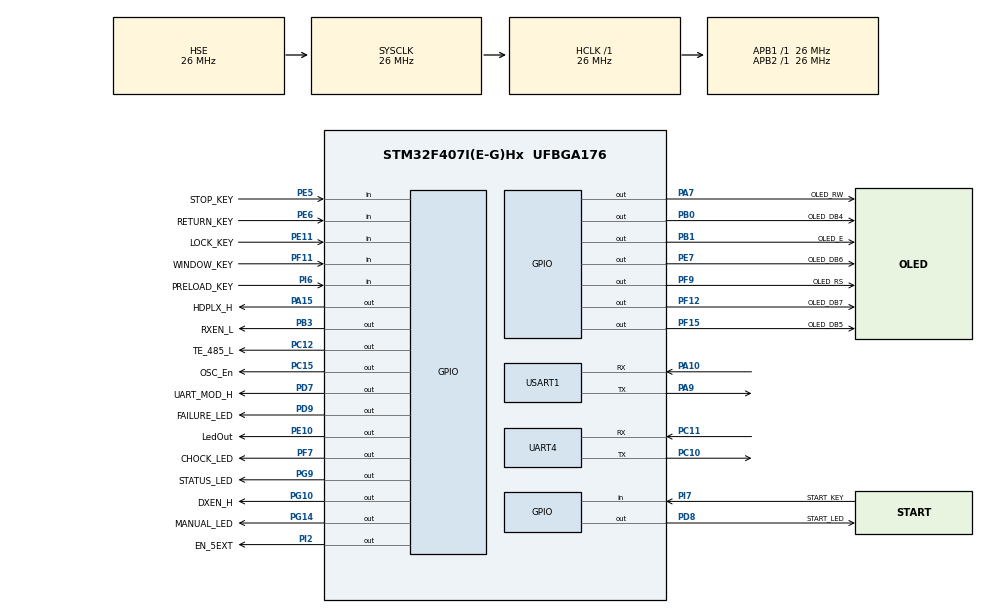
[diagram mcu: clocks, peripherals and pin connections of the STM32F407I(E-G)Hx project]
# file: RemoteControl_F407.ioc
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Mcu.Family=STM32F4
Mcu.Name=STM32F407I(E-G)Hx
Mcu.Package=UFBGA176
NVIC.PriorityGroup=NVIC_PRIORITYGROUP_4
NVIC.TIM3_IRQn=true\:2\:0\:true\:true\:true\:1\:true\:true\:true
NVIC.UART4_IRQn=true\:0\:0\:false\:false\:true\:true\:true\:true
NVIC.USART1_IRQn=true\:3\:0\:true\:false\:true\:true\:true\:true
PA10.Mode=Asynchronous
PA10.Signal=USART1_RX
PA15.GPIO_Label=HDPLX_H
PA15.GPIO_PuPd=GPIO_PULLUP
PA15.PinState=GPIO_PIN_SET
PA15.Signal=GPIO_Output
PA7.GPIO_Label=OLED_RW
PA7.GPIO_PuPd=GPIO_PULLUP
PA7.GPIO_Speed=GPIO_SPEED_FREQ_HIGH
PA7.Signal=GPIO_Output
PA9.Mode=Asynchronous
PA9.Signal=USART1_TX
PB0.GPIO_Label=OLED_DB4
PB0.GPIO_PuPd=GPIO_PULLUP
PB0.GPIO_Speed=GPIO_SPEED_FREQ_HIGH
PB0.Signal=GPIO_Output
PB1.GPIO_Label=OLED_E
PB1.GPIO_PuPd=GPIO_PULLUP
PB1.GPIO_Speed=GPIO_SPEED_FREQ_HIGH
PB1.Signal=GPIO_Output
PB3.GPIO_Label=RXEN_L
PB3.GPIO_PuPd=GPIO_PULLDOWN
PB3.Signal=GPIO_Output
PC10.Mode=Asynchronous
PC10.Signal=UART4_TX
PC11.Mode=Asynchronous
PC11.Signal=UART4_RX
PC12.GPIO_Label=TE_485_L
PC12.GPIO_PuPd=GPIO_PULLDOWN
PC12.Signal=GPIO_Output
PC15-OSC32_OUT.GPIO_Label=OSC_En
PC15-OSC32_OUT.GPIO_ModeDefaultOutputPP=GPIO_MODE_OUTPUT_PP
PC15-OSC32_OUT.GPIO_PuPd=GPIO_PULLUP
PC15-OSC32_OUT.PinState=GPIO_PIN_SET
PC15-OSC32_OUT.Signal=GPIO_Output
PD7.GPIO_Label=UART_MOD_H
PD7.GPIO_ModeDefaultOutputPP=GPIO_MODE_OUTPUT_PP
PD7.GPIO_PuPd=GPIO_PULLUP
PD7.PinState=GPIO_PIN_SET
PD7.Signal=GPIO_Output
PD8.GPIO_Label=START_LED
PD8.GPIO_PuPd=GPIO_PULLUP
PD8.Signal=GPIO_Output
PD9.GPIO_Label=FAILURE_LED
PD9.GPIO_PuPd=GPIO_PULLUP
PD9.Signal=GPIO_Output
PE10.GPIO_Label=LedOut
PE10.GPIO_PuPd=GPIO_PULLUP
PE10.Signal=GPIO_Output
PE11.GPIO_Label=LOCK_KEY
PE11.GPIO_PuPd=GPIO_PULLUP
PE11.Signal=GPIO_Input
PE5.GPIO_Label=STOP_KEY
PE5.GPIO_PuPd=GPIO_PULLUP
PE5.Signal=GPIO_Input
PE6.GPIO_Label=RETURN_KEY
PE6.GPIO_PuPd=GPIO_PULLUP
PE6.Signal=GPIO_Input
PE7.GPIO_Label=OLED_DB6
PE7.GPIO_PuPd=GPIO_PULLUP
PE7.GPIO_Speed=GPIO_SPEED_FREQ_HIGH
PE7.Signal=GPIO_Output
PF11.GPIO_Label=WINDOW_KEY
PF11.GPIO_PuPd=GPIO_PULLUP
PF11.Signal=GPIO_Input
PF12.GPIO_Label=OLED_DB7
PF12.GPIO_PuPd=GPIO_PULLUP
PF12.GPIO_Speed=GPIO_SPEED_FREQ_HIGH
PF12.Signal=GPIO_Output
PF15.GPIO_Label=OLED_DB5
PF15.GPIO_PuPd=GPIO_PULLUP
PF15.GPIO_Speed=GPIO_SPEED_FREQ_HIGH
PF15.Signal=GPIO_Output
PF7.GPIO_Label=CHOCK_LED
PF7.GPIO_PuPd=GPIO_PULLUP
PF7.Signal=GPIO_Output
PF9.GPIO_Label=OLED_RS
PF9.GPIO_PuPd=GPIO_PULLUP
PF9.GPIO_Speed=GPIO_SPEED_FREQ_HIGH
PF9.Signal=GPIO_Output
PG10.GPIO_Label=DXEN_H
PG10.GPIO_PuPd=GPIO_PULLUP
PG10.PinState=GPIO_PIN_SET
PG10.Signal=GPIO_Output
PG14.GPIO_Label=MANUAL_LED
PG14.GPIO_PuPd=GPIO_PULLUP
PG14.Signal=GPIO_Output
PG9.GPIO_Label=STATUS_LED
PG9.GPIO_PuPd=GPIO_PULLUP
PG9.PinState=GPIO_PIN_RESET
PG9.Signal=GPIO_Output
PH0-OSC_IN.Mode=HSE-External-Clock-Source
PH0-OSC_IN.Signal=RCC_OSC_IN
PH1-OSC_OUT.Mode=HSE-External-Clock-Source
PH1-OSC_OUT.Signal=RCC_OSC_OUT
PI2.GPIO_Label=EN_5EXT
PI2.GPIO_ModeDefaultOutputPP=GPIO_MODE_OUTPUT_PP
PI2.GPIO_PuPd=GPIO_PULLUP
PI2.PinState=GPIO_PIN_SET
PI2.Signal=GPIO_Output
PI6.GPIO_Label=PRELOAD_KEY
PI6.GPIO_PuPd=GPIO_PULLUP
PI6.Signal=GPIO_Input
PI7.GPIO_Label=START_KEY
PI7.GPIO_PuPd=GPIO_PULLUP
PI7.Signal=GPIO_Input
ProjectManager.HeapSize=0x200
ProjectManager.StackSize=0x400
ProjectManager.TargetToolchain=STM32CubeIDE
RCC.48MHZClocksFreq_Value=78000000
RCC.AHBFreq_Value=26000000
RCC.APB1Freq_Value=26000000
RCC.APB1TimFreq_Value=26000000
RCC.APB2Freq_Value=26000000
RCC.APB2TimFreq_Value=26000000
RCC.CortexFreq_Value=26000000
RCC.HCLKFreq_Value=26000000
RCC.HSE_VALUE=26000000
RCC.HSI_VALUE=16000000
RCC.LSE_VALUE=32768
RCC.PLLSourceVirtual=RCC_PLLSOURCE_HSE
RCC.SYSCLKFreq_VALUE=26000000
RCC.SYSCLKSource=RCC_SYSCLKSOURCE_HSE
RCC.VCOOutputFreq_Value=312000000
TIM3.AutoReloadPreload=TIM_AUTORELOAD_PRELOAD_DISABLE
TIM3.Period=50
TIM3.Prescaler=25
UART4.VirtualMode=Asynchronous
USART1.VirtualMode=VM_ASYNC
VP_TIM3_VS_ClockSourceINT.Mode=Internal
board=custom

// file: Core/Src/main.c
/* USER CODE BEGIN Header */
/**
  ******************************************************************************
  * @file           : main.c
  * @brief          : Main program body
  ******************************************************************************
  * @attention
  *
  * Copyright (c) 2023 STMicroelectronics.
  * All rights reserved.
  *
  * This software is licensed under terms that can be found in the LICENSE file
  * in the root directory of this software component.
  * If no LICENSE file comes with this software, it is provided AS-IS.
  *
  ******************************************************************************
  */
/* USER CODE END Header */
#include "main.h"

/* USER CODE BEGIN Includes */
#include <stdio.h>
#include <stdbool.h>
#include "OLED_1602.h"
#include "Key.h"
/* USER CODE END Includes */

/* USER CODE BEGIN PD */
#define POLLING_TIME    10 //keys checked every 10ms
/* USER CODE END PD */

TIM_HandleTypeDef htim3;

UART_HandleTypeDef huart4;
UART_HandleTypeDef huart1;

/* USER CODE BEGIN PV */
//Keys declaration
key_t preload_key, start_key, return_key, stop_key, lock_key, window_key;

bool f_polling; //true if polling counter is equal to polling period
uint32_t polling_cnt; //polling counter
uint32_t polling_period; //10ms if SysTick configured for 1ms tick interrupt

char oled_str[LCD_STR_LEN * 2];
bool f_update_str1, f_update_str2;
uint8_t menu_index;
uint8_t max_menu_index;

uint32_t half_sec_cnt; //counter for a half second
bool f_half_sec; //if half a second passed flag should be set

bool f_link_status; //Link status flag. True if link with a master. Reset to false if no link more than 200ms
uint32_t link_cnt; //counter to count 200ms interval. If 200ms passed link it means that we have no connection
                   //with a host and STATUS LED should be turned off
/* USER CODE END PV */

void SystemClock_Config(void);
static void MX_GPIO_Init(void);
static void MX_TIM3_Init(void);
static void MX_USART1_UART_Init(void);
static void MX_UART4_Init(void);
static void MX_NVIC_Init(void);
/* USER CODE BEGIN PFP */

//Keys handlers and initialize methods
static void Keys_Init(void);
static void Keys_Polling(void);

static void Preload_Key_Handler(key_state_e);
static void Start_Key_Handler(key_state_e);
static void Return_Key_Handler(key_state_e);
static void Stop_Key_Handler(key_state_e);
static void Lock_Key_Handler(key_state_e);
static void Window_Key_Handler(key_state_e);

static void OLED_Str1_Handler(char*, uint8_t);
static void OLED_Str2_Handler(char*);

extern void HAL_TIM_PeriodElapsedCallback_Modbus(TIM_HandleTypeDef*);
extern void HAL_UART_RxCpltCallback_modbus(UART_HandleTypeDef*);
extern void HAL_UART_TxCpltCallback_modbus(UART_HandleTypeDef *huart);

static void StatusRegister_Handler();
static void ControlRegister_Handler();
/* USER CODE END PFP */

/* USER CODE BEGIN 0 */

//ModbusRTU variables
//
//Modbus holding registers and registers array
uint16_t pressure_M1, pressure_M2, pressure_M3, pressure_M4, accum_voltage, tempr_compr_RT1, error_code, status_register, control_register;

uint16_t *modbus_holding_regs[] = {&pressure_M1, //M1, main receiver 0.0 - 25.0Bar
                                   &pressure_M2, //M2, control receiver 0.0 - 25.0Bar
                                   &pressure_M3, //M3, pressure in the rod cavity area of the working cylinder xx.xBar
                                   &pressure_M4, //M4, working cylinder pressure 0.0-25.0Bar
                                   &accum_voltage, //Compressor accumulator voltage 0.0-16.0V
                                   &tempr_compr_RT1, //Compressor body temperature 0-120C
                                   &error_code, //Error code E00-E99 (E00 - no error)
                                   &status_register};

//Status register bits
#define MANUAL_MODE_BIT     0x01 // Mode for testing the system
#define START_MODE_BIT      0x02 // Mode for running the system up
#define FAILURE_BIT         0x04 // Emergency system mode
#define CHOCK_SET_BIT       0x08 // To set if the chock set in the carriage lock

//Control register bits
#define PRELOAD_BIT         0x01 // To supply a low pressure to the main cylinder
#define START_BIT           0x02 // To supply a full pressure to the main cylinder
#define RETURN_BIT          0x04 // To release the pressure in the main cylinder and supply a low pressure to the rod cavity area for return the system to the initial state
#define STOP_BIT            0x08 // To set all valves to the safe state with fixation
#define LOCK_BIT            0x10 // To lock the remote control all operations

/* USER CODE END 0 */

int main(void)
{

  /* MCU Configuration--------------------------------------------------------*/

  /* Reset of all peripherals, Initializes the Flash interface and the Systick. */
  HAL_Init();

  /* USER CODE BEGIN Init */
  f_polling =  false;
  polling_cnt = 0;
  polling_period = POLLING_TIME/uwTickFreq;

  pressure_M1 = pressure_M2 = pressure_M3 = pressure_M4 = accum_voltage = tempr_compr_RT1 = error_code = 0x00;
  status_register = 0x00;
  control_register = 0x00;

  f_update_str1 = f_update_str2 = true; //first time OLED display should be updated
  menu_index = 0;
  max_menu_index = sizeof(modbus_holding_regs) / 4 - 2;

  half_sec_cnt = 0;
  f_half_sec = 0;

  f_link_status = false;
  link_cnt = 0;
  /* USER CODE END Init */

  /* Configure the system clock */
  SystemClock_Config();

  /* Initialize all configured peripherals */
  MX_GPIO_Init();
  MX_TIM3_Init();
  MX_USART1_UART_Init();
  MX_UART4_Init();

  /* Initialize interrupts */
  MX_NVIC_Init();
  /* USER CODE BEGIN 2 */

  HAL_GPIO_LockPin(OSC_En_GPIO_Port, OSC_En_Pin); //LOCK this pin settings because they are important - this pin enables HSE generator
  HAL_GPIO_LockPin(EN_5EXT_GPIO_Port, EN_5EXT_Pin); //LOCK this pin - this pin enables 5V circuit

  Keys_Init(); //Initialize keys

  OLED_Init();       //Initialize OLED display
  OLED_Clear();      //Clear display
  OLED_HideCursor(); //Hide cursor

  //Initialize ModbusRTU module and enable it
  __disable_irq();
  MT_PORT_SetTimerModule(&htim3);
  MT_PORT_SetUartModule(&huart4); //use uart1 for debug purposes
  eMBErrorCode eStatus;
  eStatus = eMBInit(MB_RTU, MODBUS_SLAVE_ADDRESS, 0, huart4.Init.BaudRate, MB_PAR_NONE);
  eStatus = eMBEnable();
  if (eStatus != MB_ENOERR)
  {
      // Error handling
  }
  __enable_irq();
  /* USER CODE END 2 */

  /* Infinite loop */
  /* USER CODE BEGIN WHILE */

  while (1)
  {
      eMBPoll(); //Modbus polling function

      //Here checked all keys, set all LEDs, etc
      if (f_polling == true)
      {
          f_polling = false;

          Keys_Polling();

          if(f_update_str1 == true)
          {
              f_update_str1 = false;
              OLED_Str1_Handler(oled_str, menu_index);
              OLED_GoTo(0x00);
              OLED_PutStr(oled_str);
          }

          if(f_update_str2 == true)
          {
              f_update_str2 = false;
              OLED_Str2_Handler(oled_str);
              OLED_GoTo(0x40);
              OLED_PutStr(oled_str);
          }
      }

      if (f_half_sec == true)
      {
          f_half_sec = false;

          HAL_GPIO_TogglePin(LedOut_GPIO_Port, LedOut_Pin);

          if (READ_BIT(status_register, FAILURE_BIT))
          {
              HAL_GPIO_TogglePin(FAILURE_LED_GPIO_Port, FAILURE_LED_Pin);
          }
          else
          {
              HAL_GPIO_WritePin(FAILURE_LED_GPIO_Port, FAILURE_LED_Pin, GPIO_PIN_RESET);
          }

      }

      if (f_link_status == true)
      {
          if (++link_cnt == 20)
          {
              f_link_status = false;
              link_cnt = 0;

              HAL_GPIO_WritePin(STATUS_LED_GPIO_Port, STATUS_LED_Pin, GPIO_PIN_RESET);
          }
          else
          {
              if(link_cnt == 1)
              {
                  HAL_GPIO_WritePin(STATUS_LED_GPIO_Port, STATUS_LED_Pin, GPIO_PIN_SET);
              }
          }
      }

    /* USER CODE END WHILE */

  }
}

void SystemClock_Config(void)
{
  RCC_OscInitTypeDef RCC_OscInitStruct = {0};
  RCC_ClkInitTypeDef RCC_ClkInitStruct = {0};

  /** Configure the main internal regulator output voltage
  */
  __HAL_RCC_PWR_CLK_ENABLE();
  __HAL_PWR_VOLTAGESCALING_CONFIG(PWR_REGULATOR_VOLTAGE_SCALE1);

  /** Initializes the RCC Oscillators according to the specified parameters
  * in the RCC_OscInitTypeDef structure.
  */
  RCC_OscInitStruct.OscillatorType = RCC_OSCILLATORTYPE_HSE;
  RCC_OscInitStruct.HSEState = RCC_HSE_BYPASS;
  RCC_OscInitStruct.PLL.PLLState = RCC_PLL_NONE;
  if (HAL_RCC_OscConfig(&RCC_OscInitStruct) != HAL_OK)
  {
    Error_Handler();
  }

  /** Initializes the CPU, AHB and APB buses clocks
  */
  RCC_ClkInitStruct.ClockType = RCC_CLOCKTYPE_HCLK|RCC_CLOCKTYPE_SYSCLK
                              |RCC_CLOCKTYPE_PCLK1|RCC_CLOCKTYPE_PCLK2;
  RCC_ClkInitStruct.SYSCLKSource = RCC_SYSCLKSOURCE_HSE;
  RCC_ClkInitStruct.AHBCLKDivider = RCC_SYSCLK_DIV1;
  RCC_ClkInitStruct.APB1CLKDivider = RCC_HCLK_DIV1;
  RCC_ClkInitStruct.APB2CLKDivider = RCC_HCLK_DIV1;

  if (HAL_RCC_ClockConfig(&RCC_ClkInitStruct, FLASH_LATENCY_0) != HAL_OK)
  {
    Error_Handler();
  }
}

/**
  * @brief NVIC Configuration.
  * @retval None
  */
static void MX_NVIC_Init(void)
{
  /* TIM3_IRQn interrupt configuration */
  HAL_NVIC_SetPriority(TIM3_IRQn, 2, 0);
  HAL_NVIC_EnableIRQ(TIM3_IRQn);
}

static void MX_TIM3_Init(void)
{

  TIM_ClockConfigTypeDef sClockSourceConfig = {0};
  TIM_MasterConfigTypeDef sMasterConfig = {0};

  htim3.Instance = TIM3;
  htim3.Init.Prescaler = 25;
  htim3.Init.CounterMode = TIM_COUNTERMODE_UP;
  htim3.Init.Period = 50;
  htim3.Init.ClockDivision = TIM_CLOCKDIVISION_DIV1;
  htim3.Init.AutoReloadPreload = TIM_AUTORELOAD_PRELOAD_DISABLE;
  if (HAL_TIM_Base_Init(&htim3) != HAL_OK)
  {
    Error_Handler();
  }
  sClockSourceConfig.ClockSource = TIM_CLOCKSOURCE_INTERNAL;
  if (HAL_TIM_ConfigClockSource(&htim3, &sClockSourceConfig) != HAL_OK)
  {
    Error_Handler();
  }
  sMasterConfig.MasterOutputTrigger = TIM_TRGO_RESET;
  sMasterConfig.MasterSlaveMode = TIM_MASTERSLAVEMODE_DISABLE;
  if (HAL_TIMEx_MasterConfigSynchronization(&htim3, &sMasterConfig) != HAL_OK)
  {
    Error_Handler();
  }

}

static void MX_UART4_Init(void)
{

  huart4.Instance = UART4;
  huart4.Init.BaudRate = 115200;
  huart4.Init.WordLength = UART_WORDLENGTH_8B;
  huart4.Init.StopBits = UART_STOPBITS_1;
  huart4.Init.Parity = UART_PARITY_NONE;
  huart4.Init.Mode = UART_MODE_TX_RX;
  huart4.Init.HwFlowCtl = UART_HWCONTROL_NONE;
  huart4.Init.OverSampling = UART_OVERSAMPLING_16;
  if (HAL_UART_Init(&huart4) != HAL_OK)
  {
    Error_Handler();
  }

}

static void MX_USART1_UART_Init(void)
{

  huart1.Instance = USART1;
  huart1.Init.BaudRate = 115200;
  huart1.Init.WordLength = UART_WORDLENGTH_8B;
  huart1.Init.StopBits = UART_STOPBITS_1;
  huart1.Init.Parity = UART_PARITY_NONE;
  huart1.Init.Mode = UART_MODE_TX_RX;
  huart1.Init.HwFlowCtl = UART_HWCONTROL_NONE;
  huart1.Init.OverSampling = UART_OVERSAMPLING_16;
  if (HAL_UART_Init(&huart1) != HAL_OK)
  {
    Error_Handler();
  }

}

static void MX_GPIO_Init(void)
{
  GPIO_InitTypeDef GPIO_InitStruct = {0};

  /* GPIO Ports Clock Enable */
  __HAL_RCC_GPIOG_CLK_ENABLE();
  __HAL_RCC_GPIOB_CLK_ENABLE();
  __HAL_RCC_GPIOD_CLK_ENABLE();
  __HAL_RCC_GPIOC_CLK_ENABLE();
  __HAL_RCC_GPIOA_CLK_ENABLE();
  __HAL_RCC_GPIOE_CLK_ENABLE();
  __HAL_RCC_GPIOI_CLK_ENABLE();
  __HAL_RCC_GPIOH_CLK_ENABLE();
  __HAL_RCC_GPIOF_CLK_ENABLE();

  /*Configure GPIO pin Output Level */
  HAL_GPIO_WritePin(GPIOG, MANUAL_LED_Pin|STATUS_LED_Pin, GPIO_PIN_RESET);

  /*Configure GPIO pin Output Level */
  HAL_GPIO_WritePin(GPIOB, RXEN_L_Pin|OLED_E_Pin|OLED_DB4_Pin, GPIO_PIN_RESET);

  /*Configure GPIO pin Output Level */
  HAL_GPIO_WritePin(UART_MOD_H_GPIO_Port, UART_MOD_H_Pin, GPIO_PIN_SET);

  /*Configure GPIO pin Output Level */
  HAL_GPIO_WritePin(TE_485_L_GPIO_Port, TE_485_L_Pin, GPIO_PIN_RESET);

  /*Configure GPIO pin Output Level */
  HAL_GPIO_WritePin(HDPLX_H_GPIO_Port, HDPLX_H_Pin, GPIO_PIN_SET);

  /*Configure GPIO pin Output Level */
  HAL_GPIO_WritePin(DXEN_H_GPIO_Port, DXEN_H_Pin, GPIO_PIN_SET);

  /*Configure GPIO pin Output Level */
  HAL_GPIO_WritePin(EN_5EXT_GPIO_Port, EN_5EXT_Pin, GPIO_PIN_SET);

  /*Configure GPIO pin Output Level */
  HAL_GPIO_WritePin(OSC_En_GPIO_Port, OSC_En_Pin, GPIO_PIN_SET);

  /*Configure GPIO pin Output Level */
  HAL_GPIO_WritePin(GPIOF, CHOCK_LED_Pin|OLED_RS_Pin|OLED_DB7_Pin|OLED_DB5_Pin, GPIO_PIN_RESET);

  /*Configure GPIO pin Output Level */
  HAL_GPIO_WritePin(GPIOD, FAILURE_LED_Pin|START_LED_Pin, GPIO_PIN_RESET);

  /*Configure GPIO pin Output Level */
  HAL_GPIO_WritePin(OLED_RW_GPIO_Port, OLED_RW_Pin, GPIO_PIN_RESET);

  /*Configure GPIO pin Output Level */
  HAL_GPIO_WritePin(GPIOE, OLED_DB6_Pin|LedOut_Pin, GPIO_PIN_RESET);

  /*Configure GPIO pins : MANUAL_LED_Pin DXEN_H_Pin STATUS_LED_Pin */
  GPIO_InitStruct.Pin = MANUAL_LED_Pin|DXEN_H_Pin|STATUS_LED_Pin;
  GPIO_InitStruct.Mode = GPIO_MODE_OUTPUT_PP;
  GPIO_InitStruct.Pull = GPIO_PULLUP;
  GPIO_InitStruct.Speed = GPIO_SPEED_FREQ_LOW;
  HAL_GPIO_Init(GPIOG, &GPIO_InitStruct);

  /*Configure GPIO pin : RXEN_L_Pin */
  GPIO_InitStruct.Pin = RXEN_L_Pin;
  GPIO_InitStruct.Mode = GPIO_MODE_OUTPUT_PP;
  GPIO_InitStruct.Pull = GPIO_PULLDOWN;
  GPIO_InitStruct.Speed = GPIO_SPEED_FREQ_LOW;
  HAL_GPIO_Init(RXEN_L_GPIO_Port, &GPIO_InitStruct);

  /*Configure GPIO pins : UART_MOD_H_Pin FAILURE_LED_Pin START_LED_Pin */
  GPIO_InitStruct.Pin = UART_MOD_H_Pin|FAILURE_LED_Pin|START_LED_Pin;
  GPIO_InitStruct.Mode = GPIO_MODE_OUTPUT_PP;
  GPIO_InitStruct.Pull = GPIO_PULLUP;
  GPIO_InitStruct.Speed = GPIO_SPEED_FREQ_LOW;
  HAL_GPIO_Init(GPIOD, &GPIO_InitStruct);

  /*Configure GPIO pin : TE_485_L_Pin */
  GPIO_InitStruct.Pin = TE_485_L_Pin;
  GPIO_InitStruct.Mode = GPIO_MODE_OUTPUT_PP;
  GPIO_InitStruct.Pull = GPIO_PULLDOWN;
  GPIO_InitStruct.Speed = GPIO_SPEED_FREQ_LOW;
  HAL_GPIO_Init(TE_485_L_GPIO_Port, &GPIO_InitStruct);

  /*Configure GPIO pin : HDPLX_H_Pin */
  GPIO_InitStruct.Pin = HDPLX_H_Pin;
  GPIO_InitStruct.Mode = GPIO_MODE_OUTPUT_PP;
  GPIO_InitStruct.Pull = GPIO_PULLUP;
  GPIO_InitStruct.Speed = GPIO_SPEED_FREQ_LOW;
  HAL_GPIO_Init(HDPLX_H_GPIO_Port, &GPIO_InitStruct);

  /*Configure GPIO pins : STOP_KEY_Pin RETURN_KEY_Pin LOCK_KEY_Pin */
  GPIO_InitStruct.Pin = STOP_KEY_Pin|RETURN_KEY_Pin|LOCK_KEY_Pin;
  GPIO_InitStruct.Mode = GPIO_MODE_INPUT;
  GPIO_InitStruct.Pull = GPIO_PULLUP;
  HAL_GPIO_Init(GPIOE, &GPIO_InitStruct);

  /*Configure GPIO pins : START_KEY_Pin PRELOAD_KEY_Pin */
  GPIO_InitStruct.Pin = START_KEY_Pin|PRELOAD_KEY_Pin;
  GPIO_InitStruct.Mode = GPIO_MODE_INPUT;
  GPIO_InitStruct.Pull = GPIO_PULLUP;
  HAL_GPIO_Init(GPIOI, &GPIO_InitStruct);

  /*Configure GPIO pin : EN_5EXT_Pin */
  GPIO_InitStruct.Pin = EN_5EXT_Pin;
  GPIO_InitStruct.Mode = GPIO_MODE_OUTPUT_PP;
  GPIO_InitStruct.Pull = GPIO_PULLUP;
  GPIO_InitStruct.Speed = GPIO_SPEED_FREQ_LOW;
  HAL_GPIO_Init(EN_5EXT_GPIO_Port, &GPIO_InitStruct);

  /*Configure GPIO pin : OSC_En_Pin */
  GPIO_InitStruct.Pin = OSC_En_Pin;
  GPIO_InitStruct.Mode = GPIO_MODE_OUTPUT_PP;
  GPIO_InitStruct.Pull = GPIO_PULLUP;
  GPIO_InitStruct.Speed = GPIO_SPEED_FREQ_LOW;
  HAL_GPIO_Init(OSC_En_GPIO_Port, &GPIO_InitStruct);

  /*Configure GPIO pin : CHOCK_LED_Pin */
  GPIO_InitStruct.Pin = CHOCK_LED_Pin;
  GPIO_InitStruct.Mode = GPIO_MODE_OUTPUT_PP;
  GPIO_InitStruct.Pull = GPIO_PULLUP;
  GPIO_InitStruct.Speed = GPIO_SPEED_FREQ_LOW;
  HAL_GPIO_Init(CHOCK_LED_GPIO_Port, &GPIO_InitStruct);

  /*Configure GPIO pins : OLED_RS_Pin OLED_DB7_Pin OLED_DB5_Pin */
  GPIO_InitStruct.Pin = OLED_RS_Pin|OLED_DB7_Pin|OLED_DB5_Pin;
  GPIO_InitStruct.Mode = GPIO_MODE_OUTPUT_PP;
  GPIO_InitStruct.Pull = GPIO_PULLUP;
  GPIO_InitStruct.Speed = GPIO_SPEED_FREQ_HIGH;
  HAL_GPIO_Init(GPIOF, &GPIO_InitStruct);

  /*Configure GPIO pin : OLED_RW_Pin */
  GPIO_InitStruct.Pin = OLED_RW_Pin;
  GPIO_InitStruct.Mode = GPIO_MODE_OUTPUT_PP;
  GPIO_InitStruct.Pull = GPIO_PULLUP;
  GPIO_InitStruct.Speed = GPIO_SPEED_FREQ_HIGH;
  HAL_GPIO_Init(OLED_RW_GPIO_Port, &GPIO_InitStruct);

  /*Configure GPIO pins : OLED_E_Pin OLED_DB4_Pin */
  GPIO_InitStruct.Pin = OLED_E_Pin|OLED_DB4_Pin;
  GPIO_InitStruct.Mode = GPIO_MODE_OUTPUT_PP;
  GPIO_InitStruct.Pull = GPIO_PULLUP;
  GPIO_InitStruct.Speed = GPIO_SPEED_FREQ_HIGH;
  HAL_GPIO_Init(GPIOB, &GPIO_InitStruct);

  /*Configure GPIO pin : WINDOW_KEY_Pin */
  GPIO_InitStruct.Pin = WINDOW_KEY_Pin;
  GPIO_InitStruct.Mode = GPIO_MODE_INPUT;
  GPIO_InitStruct.Pull = GPIO_PULLUP;
  HAL_GPIO_Init(WINDOW_KEY_GPIO_Port, &GPIO_InitStruct);

  /*Configure GPIO pin : OLED_DB6_Pin */
  GPIO_InitStruct.Pin = OLED_DB6_Pin;
  GPIO_InitStruct.Mode = GPIO_MODE_OUTPUT_PP;
  GPIO_InitStruct.Pull = GPIO_PULLUP;
  GPIO_InitStruct.Speed = GPIO_SPEED_FREQ_HIGH;
  HAL_GPIO_Init(OLED_DB6_GPIO_Port, &GPIO_InitStruct);

  /*Configure GPIO pin : LedOut_Pin */
  GPIO_InitStruct.Pin = LedOut_Pin;
  GPIO_InitStruct.Mode = GPIO_MODE_OUTPUT_PP;
  GPIO_InitStruct.Pull = GPIO_PULLUP;
  GPIO_InitStruct.Speed = GPIO_SPEED_FREQ_LOW;
  HAL_GPIO_Init(LedOut_GPIO_Port, &GPIO_InitStruct);

}

/* USER CODE BEGIN 4 */

void HAL_SYSTICK_Callback(void)
{
    if (++polling_cnt == polling_period)
    {
        f_polling = true;
        polling_cnt = 0;
    }

    if (++half_sec_cnt == 500)
    {
        half_sec_cnt = 0;
        f_half_sec = true;
    }
}

/**
  * @brief UART RX complete callback
  * @retval None
  */
void HAL_UART_RxCpltCallback(UART_HandleTypeDef *huart)
{
    HAL_UART_RxCpltCallback_modbus(huart);
}

/**
  * @brief UART TX complete callback
  * @retval None
  */
void HAL_UART_TxCpltCallback(UART_HandleTypeDef *huart)
{
    HAL_UART_TxCpltCallback_modbus(huart);
}

/**
  * @brief Timer tim10 elapsed period callback
  * @retval None
  */
void HAL_TIM_PeriodElapsedCallback(TIM_HandleTypeDef *htim)
{
    if (htim->Instance == TIM3)
    {
        HAL_TIM_PeriodElapsedCallback_Modbus(htim);
    }
}

/**
  * @brief Initialize keys structures
  * @param None
  * @retval None
  */
static void Keys_Init(void)
{
    Key_Init(&preload_key, PRELOAD_KEY_GPIO_Port, PRELOAD_KEY_Pin, LO_LEVEL, &Preload_Key_Handler);
    Key_Init(&start_key  , START_KEY_GPIO_Port  , START_KEY_Pin  , LO_LEVEL, &Start_Key_Handler);
    Key_Init(&return_key , RETURN_KEY_GPIO_Port , RETURN_KEY_Pin , LO_LEVEL, &Return_Key_Handler);
    Key_Init(&stop_key   , STOP_KEY_GPIO_Port   , STOP_KEY_Pin   , LO_LEVEL, &Stop_Key_Handler);
    Key_Init(&lock_key   , LOCK_KEY_GPIO_Port   , LOCK_KEY_Pin   , LO_LEVEL, &Lock_Key_Handler);
    Key_Init(&window_key , WINDOW_KEY_GPIO_Port , WINDOW_KEY_Pin , LO_LEVEL, &Window_Key_Handler);
}

/**
  * @brief Check all keys state in polling
  * @param None
  * @retval None
  */
static void Keys_Polling(void)
{
    Key_CheckState(&preload_key);
    Key_CheckState(&start_key);
    Key_CheckState(&return_key);
    Key_CheckState(&stop_key);
    Key_CheckState(&lock_key);
    Key_CheckState(&window_key);
}

/**
  * @brief Preload key handler
  * @param state: state of the key - pressed/released
  * @retval None
  */
static void Preload_Key_Handler(key_state_e state)
{
    if (state == PRESSED)
    {
        SET_BIT(control_register, PRELOAD_BIT);
    }
}

/**
  * @brief Start key handler
  * @param state: state of the key - pressed/released
  * @retval None
  */
static void Start_Key_Handler(key_state_e state)
{
    if (state == PRESSED)
    {
        SET_BIT(control_register, START_BIT);
    }
}

/**
  * @brief Return key handler
  * @param state: state of the key - pressed/released
  * @retval None
  */
static void Return_Key_Handler(key_state_e state)
{
    if (state == PRESSED)
    {
        SET_BIT(control_register, RETURN_BIT);
    }
}

/**
  * @brief Stop key handler
  * @param state: state of the key - pressed/released
  * @retval None
  */
static void Stop_Key_Handler(key_state_e state)
{
    if (state == PRESSED)
    {
        SET_BIT(control_register, STOP_BIT);
    }
    else
    {
        CLEAR_BIT(control_register, STOP_BIT);
    }
}

/**
  * @brief Lock key handler
  * @param state: state of the key - pressed/released
  * @retval None
  */
static void Lock_Key_Handler(key_state_e state)
{
    if (state == PRESSED)
    {
        SET_BIT(control_register, LOCK_BIT);
    }
    else
    {
        CLEAR_BIT(control_register, LOCK_BIT);
    }
}

/**
  * @brief Window key handler
  * @param state: state of the key - pressed/released
  * @retval None
  */
static void Window_Key_Handler(key_state_e state)
{
    if (state == PRESSED)
    {
        if (++menu_index == max_menu_index)
        {
            menu_index = 0;
        }

        f_update_str1 = true;
    }
}

/**
  * @brief OLED string-1 handler
  * @param p_str: pointer to string
  * @retval None
  */
static void OLED_Str1_Handler(char* p_str, uint8_t index)
{
    switch (index)
    {
        case 0:
            sprintf(oled_str, "M1Pres=%2d.%01dBar ", pressure_M1 / 10, pressure_M1 % 10);
            break;

        case 1:
            sprintf(oled_str, "M2Pres=%2d.%01dBar ", pressure_M2 / 10, pressure_M2 % 10);
            break;

        case 2:
            sprintf(oled_str, "M3Pres=%2d.%01dBar ", pressure_M3 / 10, pressure_M3 % 10);
            break;

        case 3:
            sprintf(oled_str, "M4Pres=%2d.%01dBar ", pressure_M4 / 10, pressure_M4 % 10);
            break;

        case 4:
            sprintf(oled_str, "Voltage=%2d.%01dV  ", accum_voltage / 10, accum_voltage % 10);
            break;

        case 5:
            sprintf(oled_str, "RT1Temp=%3dC   ", tempr_compr_RT1);
            break;

        default:

    }
}

/**
  * @brief OLED string-2 handler
  * @param p_str: pointer to string
  * @retval None
  */
static void OLED_Str2_Handler(char*)
{
    sprintf(oled_str, "Status-E%02d     ", error_code);
}

/**
  * @brief
  * @retval eMBErrorCode
  */
eMBErrorCode eMBRegInputCB(uint8_t *pucRegBuffer, uint16_t usAddress, uint16_t usNRegs)
{
    eMBErrorCode eStatus = MB_ENOERR;

    if ((usAddress >= REG_INPUT_START) &&
        (usAddress + usNRegs <= REG_INPUT_START + REG_INPUT_NREGS))
    {
        *pucRegBuffer++ = control_register >> 8;
        *pucRegBuffer++ = control_register & 0xFF;

        ControlRegister_Handler();
    }
    else
    {
        eStatus = MB_ENOREG;
    }

    f_link_status = true;
    link_cnt = 0;

    return eStatus;
}

/**
  * @brief
  * @retval eMBErrorCode
  */
eMBErrorCode eMBRegHoldingCB(uint8_t * pucRegBuffer, uint16_t usAddress, uint16_t usNRegs, eMBRegisterMode eMode)
{
    eMBErrorCode eStatus = MB_ENOERR;
    uint32_t iRegIndex;

    if ( (usAddress >= REG_HOLDING_START) && (usAddress + usNRegs <= REG_HOLDING_START + REG_HOLDING_NREGS) )
    {
        iRegIndex = (uint32_t)(usAddress - REG_HOLDING_START);
        switch (eMode)
        {
            /* Pass current register values to the protocol stack. */
            case MB_REG_READ:
                while (usNRegs > 0)
                {
                    *pucRegBuffer++ = *modbus_holding_regs[iRegIndex] >> 8;
                    *pucRegBuffer++ = *modbus_holding_regs[iRegIndex] & 0xFF;
                    iRegIndex++;
                    usNRegs--;
                }
                break;

                /* Update current register values with new values from the
                 * protocol stack. */
            case MB_REG_WRITE:
                while (usNRegs > 0)
                {
                    uint16_t old_data = *modbus_holding_regs[iRegIndex];

                    *modbus_holding_regs[iRegIndex] = *pucRegBuffer++ << 8;
                    *modbus_holding_regs[iRegIndex] |= *pucRegBuffer++;

                    if (modbus_holding_regs[iRegIndex] == &status_register)
                    {
                        StatusRegister_Handler();
                    }

                    //The Update OLED display flag set if currently displayed data were changed
                    if (iRegIndex == menu_index && old_data != *modbus_holding_regs[iRegIndex])
                    {
                        f_update_str1 = true;
                    }else if (iRegIndex == max_menu_index && old_data != *modbus_holding_regs[iRegIndex])
                    {
                        f_update_str2 = true;
                    }

                    iRegIndex++;
                    usNRegs--;
                }
        }
    }
    else
    {
        eStatus = MB_ENOREG;
    }

    f_link_status = true;
    link_cnt = 0;

    return eStatus;
}

/**
  * @brief
  * @retval eMBErrorCode
  */
eMBErrorCode eMBRegCoilsCB(uint8_t * pucRegBuffer, uint16_t usAddress, uint16_t usNCoils, eMBRegisterMode eMode)
{
    return MB_ENOREG;
}

/**
  * @brief
  * @retval eMBErrorCode
  */
eMBErrorCode eMBRegDiscreteCB(uint8_t * pucRegBuffer, uint16_t usAddress, uint16_t usNDiscrete)
{
    return MB_ENOREG;
}

/**
  * @brief Status Register Handler
  * @retval None
  */
static void StatusRegister_Handler()
{
    HAL_GPIO_WritePin(MANUAL_LED_GPIO_Port , MANUAL_LED_Pin , READ_BIT(status_register, MANUAL_MODE_BIT) ? GPIO_PIN_SET : GPIO_PIN_RESET);
    HAL_GPIO_WritePin(START_LED_GPIO_Port  , START_LED_Pin  , READ_BIT(status_register, START_MODE_BIT)  ? GPIO_PIN_SET : GPIO_PIN_RESET);
    //HAL_GPIO_WritePin(FAILURE_LED_GPIO_Port, FAILURE_LED_Pin, READ_BIT(status_register, FAILURE_BIT)     ? GPIO_PIN_SET : GPIO_PIN_RESET);
    HAL_GPIO_WritePin(CHOCK_LED_GPIO_Port  , CHOCK_LED_Pin  , READ_BIT(status_register, CHOCK_SET_BIT)   ? GPIO_PIN_SET : GPIO_PIN_RESET);
}

/**
  * @brief Control Register Handler
  * @retval None
  */
static void ControlRegister_Handler()
{
    //Some bits should be reseted after they were read as it requested in specification
    //CLEAR_BIT(control_register, PRELOAD_BIT);
    //CLEAR_BIT(control_register, START_BIT);
    //CLEAR_BIT(control_register, RETURN_BIT);

    //Here logic slightly changed. If register was requested by Modbus, the corresponding bit was set,
    //but key was released   -  this bit should be released too. Otherwise should be left in the same state
    if (READ_BIT(control_register, PRELOAD_BIT) != 0 && Key_InstantCheck(&preload_key) == RELEASED)
    {
        CLEAR_BIT(control_register, PRELOAD_BIT);
    }

    if (READ_BIT(control_register, START_BIT) != 0 && Key_InstantCheck(&start_key) == RELEASED)
    {
        CLEAR_BIT(control_register, START_BIT);
    }

    if (READ_BIT(control_register, RETURN_BIT) != 0 && Key_InstantCheck(&return_key) == RELEASED)
    {
        CLEAR_BIT(control_register, RETURN_BIT);
    }
}

/**
  * @brief Enable LTC2870 RX mode
  * @retval
  */
void LTC2870_RX485_En_Rx()
{
    HAL_GPIO_WritePin(RXEN_L_GPIO_Port, RXEN_L_Pin, GPIO_PIN_RESET);
    HAL_GPIO_WritePin(DXEN_H_GPIO_Port, DXEN_H_Pin, GPIO_PIN_RESET);
}

/**
  * @brief Enable LTC2870 TX mode
  * @retval
  */
void LTC2870_RX485_En_Tx()
{
    HAL_GPIO_WritePin(RXEN_L_GPIO_Port, RXEN_L_Pin, GPIO_PIN_SET);
    HAL_GPIO_WritePin(DXEN_H_GPIO_Port, DXEN_H_Pin, GPIO_PIN_SET);
}

/* USER CODE END 4 */

void Error_Handler(void)
{
  __disable_irq();
  while (1)
  {
  }
}
